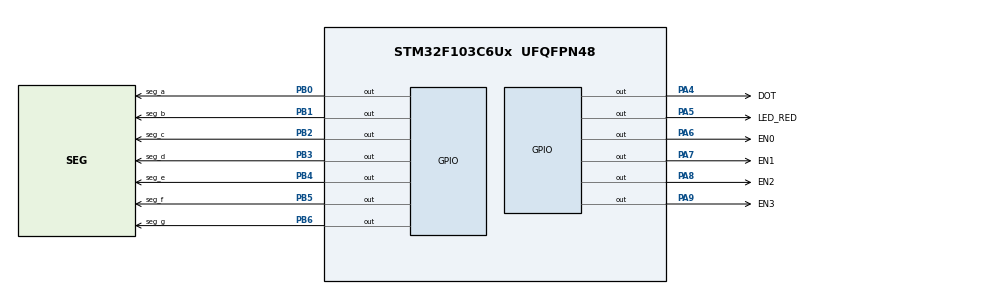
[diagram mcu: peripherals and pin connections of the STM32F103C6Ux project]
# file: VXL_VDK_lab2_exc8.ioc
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Mcu.Family=STM32F1
Mcu.Name=STM32F103C6Ux
Mcu.Package=UFQFPN48
NVIC.PriorityGroup=NVIC_PRIORITYGROUP_4
NVIC.TIM2_IRQn=true\:0\:0\:false\:false\:true\:true\:true\:true
PA4.GPIO_Label=DOT
PA4.Signal=GPIO_Output
PA5.GPIO_Label=LED_RED
PA5.Signal=GPIO_Output
PA6.GPIO_Label=EN0
PA6.Signal=GPIO_Output
PA7.GPIO_Label=EN1
PA7.Signal=GPIO_Output
PA8.GPIO_Label=EN2
PA8.Signal=GPIO_Output
PA9.GPIO_Label=EN3
PA9.Signal=GPIO_Output
PB0.GPIO_Label=seg_a
PB0.Signal=GPIO_Output
PB1.GPIO_Label=seg_b
PB1.Signal=GPIO_Output
PB2.GPIO_Label=seg_c
PB2.Signal=GPIO_Output
PB3.GPIO_Label=seg_d
PB3.Signal=GPIO_Output
PB4.GPIO_Label=seg_e
PB4.Signal=GPIO_Output
PB5.GPIO_Label=seg_f
PB5.Signal=GPIO_Output
PB6.GPIO_Label=seg_g
PB6.Signal=GPIO_Output
ProjectManager.HeapSize=0x200
ProjectManager.StackSize=0x400
ProjectManager.TargetToolchain=STM32CubeIDE
RCC.APB1Freq_Value=8000000
RCC.APB2Freq_Value=8000000
TIM2.Period=9
TIM2.Prescaler=7999
VP_SYS_VS_ND.Mode=No_Debug
VP_TIM2_VS_ClockSourceINT.Mode=Internal
board=custom

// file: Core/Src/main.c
/* USER CODE BEGIN Header */
/**
  ******************************************************************************
  * @file           : main.c
  * @brief          : Main program body
  ******************************************************************************
  * @attention
  *
  * Copyright (c) 2025 STMicroelectronics.
  * All rights reserved.
  *
  * This software is licensed under terms that can be found in the LICENSE file
  * in the root directory of this software component.
  * If no LICENSE file comes with this software, it is provided AS-IS.
  *
  ******************************************************************************
  */
/* USER CODE END Header */
#include "main.h"
#include "tim.h"
#include "gpio.h"
#include "software_timer.h"

void SystemClock_Config(void);

/* USER CODE BEGIN 0 */
int hour = 15, minute = 8, second = 50;
int led_buffer[4] = {0, 0, 0, 0};
uint8_t led7_table[10][7] =    {{0,0,0,0,0,0,1},
								{1,0,0,1,1,1,1},
								{0,0,1,0,0,1,0},
								{0,0,0,0,1,1,0},
								{1,0,0,1,1,0,0},
								{0,1,0,0,1,0,0},
								{0,1,0,0,0,0,0},
								{0,0,0,1,1,1,1},
								{0,0,0,0,0,0,0},
								{0,0,0,0,1,0,0}};
uint16_t EN_PIN[4] = {
    EN0_Pin,
    EN1_Pin,
    EN2_Pin,
    EN3_Pin,
};
void display7SEG(int num,int led){
	HAL_GPIO_WritePin(EN0_GPIO_Port, EN_PIN[0], SET);
	HAL_GPIO_WritePin(EN0_GPIO_Port, EN_PIN[1], SET);
	HAL_GPIO_WritePin(EN0_GPIO_Port, EN_PIN[2], SET);
	HAL_GPIO_WritePin(EN0_GPIO_Port, EN_PIN[3], SET);

	HAL_GPIO_WritePin(seg_a_GPIO_Port, seg_a_Pin, led7_table[num][0]);
	HAL_GPIO_WritePin(seg_b_GPIO_Port, seg_b_Pin, led7_table[num][1]);
	HAL_GPIO_WritePin(seg_c_GPIO_Port, seg_c_Pin, led7_table[num][2]);
	HAL_GPIO_WritePin(seg_g_GPIO_Port, seg_d_Pin, led7_table[num][3]);
	HAL_GPIO_WritePin(seg_f_GPIO_Port, seg_e_Pin, led7_table[num][4]);
	HAL_GPIO_WritePin(seg_e_GPIO_Port, seg_f_Pin, led7_table[num][5]);
	HAL_GPIO_WritePin(seg_d_GPIO_Port, seg_g_Pin, led7_table[num][6]);
	HAL_GPIO_WritePin(EN0_GPIO_Port, EN_PIN[led], RESET);
}

int timer0_counter = 0;
int timer0_flag = 0;
int TIMER_CYCLE = 10;

void updateClockBuffer(){
	led_buffer[0] = hour/10;
	led_buffer[1] = hour - led_buffer[0]*10;
	led_buffer[2] = minute/10;
	led_buffer[3] = minute - led_buffer[2]*10;

};
void update7SEG(int index){
    switch (index){
        case 0:
        	display7SEG(led_buffer[0],0);
            break;
        case 1:
        	display7SEG(led_buffer[1],1);
            break;
        case 2:
        	display7SEG(led_buffer[2],2);
            break;
        case 3:
        	display7SEG(led_buffer[3],3);
            break;
        default:
            break;
    }
}

/* USER CODE END 0 */

int main(void)
{

  /* MCU Configuration--------------------------------------------------------*/

  /* Reset of all peripherals, Initializes the Flash interface and the Systick. */
  HAL_Init();

  /* Configure the system clock */
  SystemClock_Config();

  /* Initialize all configured peripherals */
  MX_GPIO_Init();
  MX_TIM2_Init();
  /* USER CODE BEGIN 2 */
  int seg_idx = 0;
  HAL_GPIO_WritePin(LED_RED_GPIO_Port, LED_RED_Pin, RESET);
  HAL_GPIO_WritePin(DOT_GPIO_Port, DOT_Pin, RESET);
  updateClockBuffer();
  update7SEG(seg_idx++);
  set_timer_init(0, 100);
  set_timer_init(1,50);
  set_timer_init(2, 25);
  HAL_TIM_Base_Start_IT(&htim2);
  /* USER CODE END 2 */

  /* Infinite loop */
  /* USER CODE BEGIN WHILE */
  while (1)
  {
	  Check_timer();
	  if(TimerExpired(0)){
		  set_timer(0, 100);
		  HAL_GPIO_TogglePin(LED_RED_GPIO_Port, LED_RED_Pin);
		  second++;
		  if (second >= 60){
		            second = 0;
		            minute++;
		        }
	      if(minute >= 60){
		            minute = 0;
		            hour++;
		        }
	      if(hour >=24){
		            hour = 0;
		        }
		  updateClockBuffer();
	  }
	  if(TimerExpired(1)){
		  set_timer(1, 50);
		  HAL_GPIO_TogglePin(DOT_GPIO_Port, DOT_Pin);
	  }
	  if(TimerExpired(2)){
		  set_timer(2, 25);
		  update7SEG(seg_idx++);
		  if(seg_idx > 3) seg_idx = 0;

	  }
    /* USER CODE END WHILE */

  }
}

void SystemClock_Config(void)
{
  RCC_OscInitTypeDef RCC_OscInitStruct = {0};
  RCC_ClkInitTypeDef RCC_ClkInitStruct = {0};

  /** Initializes the RCC Oscillators according to the specified parameters
  * in the RCC_OscInitTypeDef structure.
  */
  RCC_OscInitStruct.OscillatorType = RCC_OSCILLATORTYPE_HSI;
  RCC_OscInitStruct.HSIState = RCC_HSI_ON;
  RCC_OscInitStruct.HSICalibrationValue = RCC_HSICALIBRATION_DEFAULT;
  RCC_OscInitStruct.PLL.PLLState = RCC_PLL_NONE;
  if (HAL_RCC_OscConfig(&RCC_OscInitStruct) != HAL_OK)
  {
    Error_Handler();
  }

  /** Initializes the CPU, AHB and APB buses clocks
  */
  RCC_ClkInitStruct.ClockType = RCC_CLOCKTYPE_HCLK|RCC_CLOCKTYPE_SYSCLK
                              |RCC_CLOCKTYPE_PCLK1|RCC_CLOCKTYPE_PCLK2;
  RCC_ClkInitStruct.SYSCLKSource = RCC_SYSCLKSOURCE_HSI;
  RCC_ClkInitStruct.AHBCLKDivider = RCC_SYSCLK_DIV1;
  RCC_ClkInitStruct.APB1CLKDivider = RCC_HCLK_DIV1;
  RCC_ClkInitStruct.APB2CLKDivider = RCC_HCLK_DIV1;

  if (HAL_RCC_ClockConfig(&RCC_ClkInitStruct, FLASH_LATENCY_0) != HAL_OK)
  {
    Error_Handler();
  }
}

void Error_Handler(void)
{
  __disable_irq();
  while (1)
  {
  }
}
